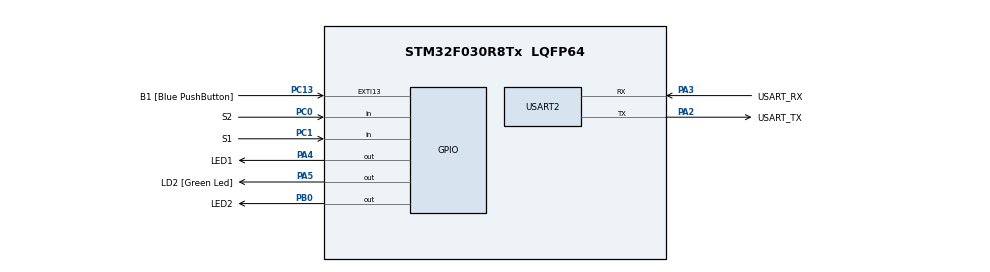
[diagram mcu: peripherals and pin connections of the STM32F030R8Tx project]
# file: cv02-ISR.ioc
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Mcu.Family=STM32F0
Mcu.Name=STM32F030R8Tx
Mcu.Package=LQFP64
PA13.GPIO_Label=TMS
PA13.Mode=Serial_Wire
PA13.Signal=SYS_SWDIO
PA14.GPIO_Label=TCK
PA14.Mode=Serial_Wire
PA14.Signal=SYS_SWCLK
PA2.GPIO_Label=USART_TX
PA2.GPIO_Mode=GPIO_MODE_AF_PP
PA2.GPIO_PuPd=GPIO_NOPULL
PA2.GPIO_Speed=GPIO_SPEED_FREQ_LOW
PA2.Mode=Asynchronous
PA2.Signal=USART2_TX
PA3.GPIO_Label=USART_RX
PA3.GPIO_Mode=GPIO_MODE_AF_PP
PA3.GPIO_PuPd=GPIO_NOPULL
PA3.GPIO_Speed=GPIO_SPEED_FREQ_LOW
PA3.Mode=Asynchronous
PA3.Signal=USART2_RX
PA4.GPIO_Label=LED1
PA4.Signal=GPIO_Output
PA5.GPIO_Label=LD2 [Green Led]
PA5.GPIO_Mode=GPIO_MODE_OUTPUT_PP
PA5.GPIO_PuPd=GPIO_NOPULL
PA5.GPIO_Speed=GPIO_SPEED_FREQ_LOW
PA5.Signal=GPIO_Output
PB0.GPIO_Label=LED2
PB0.Signal=GPIO_Output
PC0.GPIO_Label=S2
PC0.GPIO_PuPd=GPIO_PULLUP
PC0.Signal=GPIO_Input
PC1.GPIO_Label=S1
PC1.GPIO_PuPd=GPIO_PULLUP
PC1.Signal=GPIO_Input
PC13.GPIO_Label=B1 [Blue PushButton]
PC13.GPIO_ModeDefaultEXTI=GPIO_MODE_IT_FALLING
PC13.Signal=GPXTI13
PC14-OSC32_IN.Mode=LSE-External-Oscillator
PC14-OSC32_IN.Signal=RCC_OSC32_IN
PC15-OSC32_OUT.Mode=LSE-External-Oscillator
PC15-OSC32_OUT.Signal=RCC_OSC32_OUT
PF0-OSC_IN.Mode=HSE-External-Clock-Source
PF0-OSC_IN.Signal=RCC_OSC_IN
PF1-OSC_OUT.Signal=RCC_OSC_OUT
ProjectManager.HeapSize=0x200
ProjectManager.StackSize=0x400
ProjectManager.TargetToolchain=STM32CubeIDE
RCC.AHBFreq_Value=48000000
RCC.APB1Freq_Value=48000000
RCC.APB1TimFreq_Value=48000000
RCC.HCLKFreq_Value=48000000
RCC.PLLMUL=RCC_PLL_MUL12
RCC.SYSCLKFreq_VALUE=48000000
RCC.SYSCLKSource=RCC_SYSCLKSOURCE_PLLCLK
USART2.VirtualMode-Asynchronous=VM_ASYNC
board=NUCLEO-F030R8

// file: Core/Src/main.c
/* USER CODE BEGIN Header */
/**
  ******************************************************************************
  * @file           : main.c
  * @brief          : Main program body
  ******************************************************************************
  * @attention
  *
  * Copyright (c) 2023 STMicroelectronics.
  * All rights reserved.
  *
  * This software is licensed under terms that can be found in the LICENSE file
  * in the root directory of this software component.
  * If no LICENSE file comes with this software, it is provided AS-IS.
  *
  ******************************************************************************
  */
/* USER CODE END Header */
#include "main.h"

/* USER CODE BEGIN PD */
#define LED_TIME_BLINK 300
#define LED_TIME_SHORT 100
#define LED_TIME_LONG 1000

#define BTN_PERIOD_S1 5
#define BTN_PERIOD_S2 40
/* USER CODE END PD */

void SystemClock_Config(void);
static void MX_GPIO_Init(void);
static void MX_USART2_UART_Init(void);

/* USER CODE BEGIN 0 */
volatile uint32_t Tick;
/* USER CODE END 0 */

int main(void)
{

  /* MCU Configuration--------------------------------------------------------*/

  /* Reset of all peripherals, Initializes the Flash interface and the Systick. */
  LL_APB1_GRP2_EnableClock(LL_APB1_GRP2_PERIPH_SYSCFG);
  LL_APB1_GRP1_EnableClock(LL_APB1_GRP1_PERIPH_PWR);

  /* Configure the system clock */
  SystemClock_Config();

  /* Initialize all configured peripherals */
  MX_GPIO_Init();
  MX_USART2_UART_Init();
  /* USER CODE BEGIN 2 */
  LL_SYSTICK_EnableIT();
  /* USER CODE END 2 */

  /* Infinite loop */
  /* USER CODE BEGIN WHILE */
  while (1)
  {
	  blikac();
	  tlacitka();
    /* USER CODE END WHILE */

  }
}

void SystemClock_Config(void)
{
  LL_FLASH_SetLatency(LL_FLASH_LATENCY_1);
  while(LL_FLASH_GetLatency() != LL_FLASH_LATENCY_1)
  {
  }
  LL_RCC_HSI_Enable();

   /* Wait till HSI is ready */
  while(LL_RCC_HSI_IsReady() != 1)
  {

  }
  LL_RCC_HSI_SetCalibTrimming(16);
  LL_RCC_PLL_ConfigDomain_SYS(LL_RCC_PLLSOURCE_HSI_DIV_2, LL_RCC_PLL_MUL_12);
  LL_RCC_PLL_Enable();

   /* Wait till PLL is ready */
  while(LL_RCC_PLL_IsReady() != 1)
  {

  }
  LL_RCC_SetAHBPrescaler(LL_RCC_SYSCLK_DIV_1);
  LL_RCC_SetAPB1Prescaler(LL_RCC_APB1_DIV_1);
  LL_RCC_SetSysClkSource(LL_RCC_SYS_CLKSOURCE_PLL);

   /* Wait till System clock is ready */
  while(LL_RCC_GetSysClkSource() != LL_RCC_SYS_CLKSOURCE_STATUS_PLL)
  {

  }
  LL_Init1msTick(48000000);
  LL_SetSystemCoreClock(48000000);
}

static void MX_USART2_UART_Init(void)
{

  LL_USART_InitTypeDef USART_InitStruct = {0};

  LL_GPIO_InitTypeDef GPIO_InitStruct = {0};

  /* Peripheral clock enable */
  LL_APB1_GRP1_EnableClock(LL_APB1_GRP1_PERIPH_USART2);

  LL_AHB1_GRP1_EnableClock(LL_AHB1_GRP1_PERIPH_GPIOA);
  /**USART2 GPIO Configuration
  PA2   ------> USART2_TX
  PA3   ------> USART2_RX
  */
  GPIO_InitStruct.Pin = USART_TX_Pin;
  GPIO_InitStruct.Mode = LL_GPIO_MODE_ALTERNATE;
  GPIO_InitStruct.Speed = LL_GPIO_SPEED_FREQ_LOW;
  GPIO_InitStruct.OutputType = LL_GPIO_OUTPUT_PUSHPULL;
  GPIO_InitStruct.Pull = LL_GPIO_PULL_NO;
  GPIO_InitStruct.Alternate = LL_GPIO_AF_1;
  LL_GPIO_Init(USART_TX_GPIO_Port, &GPIO_InitStruct);

  GPIO_InitStruct.Pin = USART_RX_Pin;
  GPIO_InitStruct.Mode = LL_GPIO_MODE_ALTERNATE;
  GPIO_InitStruct.Speed = LL_GPIO_SPEED_FREQ_LOW;
  GPIO_InitStruct.OutputType = LL_GPIO_OUTPUT_PUSHPULL;
  GPIO_InitStruct.Pull = LL_GPIO_PULL_NO;
  GPIO_InitStruct.Alternate = LL_GPIO_AF_1;
  LL_GPIO_Init(USART_RX_GPIO_Port, &GPIO_InitStruct);

  USART_InitStruct.BaudRate = 38400;
  USART_InitStruct.DataWidth = LL_USART_DATAWIDTH_8B;
  USART_InitStruct.StopBits = LL_USART_STOPBITS_1;
  USART_InitStruct.Parity = LL_USART_PARITY_NONE;
  USART_InitStruct.TransferDirection = LL_USART_DIRECTION_TX_RX;
  USART_InitStruct.HardwareFlowControl = LL_USART_HWCONTROL_NONE;
  USART_InitStruct.OverSampling = LL_USART_OVERSAMPLING_16;
  LL_USART_Init(USART2, &USART_InitStruct);
  LL_USART_DisableIT_CTS(USART2);
  LL_USART_ConfigAsyncMode(USART2);
  LL_USART_Enable(USART2);

}

static void MX_GPIO_Init(void)
{
  LL_EXTI_InitTypeDef EXTI_InitStruct = {0};
  LL_GPIO_InitTypeDef GPIO_InitStruct = {0};

  /* GPIO Ports Clock Enable */
  LL_AHB1_GRP1_EnableClock(LL_AHB1_GRP1_PERIPH_GPIOC);
  LL_AHB1_GRP1_EnableClock(LL_AHB1_GRP1_PERIPH_GPIOF);
  LL_AHB1_GRP1_EnableClock(LL_AHB1_GRP1_PERIPH_GPIOA);
  LL_AHB1_GRP1_EnableClock(LL_AHB1_GRP1_PERIPH_GPIOB);

  /**/
  LL_GPIO_ResetOutputPin(LED1_GPIO_Port, LED1_Pin);

  /**/
  LL_GPIO_ResetOutputPin(LD2_GPIO_Port, LD2_Pin);

  /**/
  LL_GPIO_ResetOutputPin(LED2_GPIO_Port, LED2_Pin);

  /**/
  LL_SYSCFG_SetEXTISource(LL_SYSCFG_EXTI_PORTC, LL_SYSCFG_EXTI_LINE13);

  /**/
  LL_GPIO_SetPinPull(B1_GPIO_Port, B1_Pin, LL_GPIO_PULL_NO);

  /**/
  LL_GPIO_SetPinMode(B1_GPIO_Port, B1_Pin, LL_GPIO_MODE_INPUT);

  /**/
  EXTI_InitStruct.Line_0_31 = LL_EXTI_LINE_13;
  EXTI_InitStruct.LineCommand = ENABLE;
  EXTI_InitStruct.Mode = LL_EXTI_MODE_IT;
  EXTI_InitStruct.Trigger = LL_EXTI_TRIGGER_FALLING;
  LL_EXTI_Init(&EXTI_InitStruct);

  /**/
  GPIO_InitStruct.Pin = S2_Pin;
  GPIO_InitStruct.Mode = LL_GPIO_MODE_INPUT;
  GPIO_InitStruct.Pull = LL_GPIO_PULL_UP;
  LL_GPIO_Init(S2_GPIO_Port, &GPIO_InitStruct);

  /**/
  GPIO_InitStruct.Pin = S1_Pin;
  GPIO_InitStruct.Mode = LL_GPIO_MODE_INPUT;
  GPIO_InitStruct.Pull = LL_GPIO_PULL_UP;
  LL_GPIO_Init(S1_GPIO_Port, &GPIO_InitStruct);

  /**/
  GPIO_InitStruct.Pin = LED1_Pin;
  GPIO_InitStruct.Mode = LL_GPIO_MODE_OUTPUT;
  GPIO_InitStruct.Speed = LL_GPIO_SPEED_FREQ_LOW;
  GPIO_InitStruct.OutputType = LL_GPIO_OUTPUT_PUSHPULL;
  GPIO_InitStruct.Pull = LL_GPIO_PULL_NO;
  LL_GPIO_Init(LED1_GPIO_Port, &GPIO_InitStruct);

  /**/
  GPIO_InitStruct.Pin = LD2_Pin;
  GPIO_InitStruct.Mode = LL_GPIO_MODE_OUTPUT;
  GPIO_InitStruct.Speed = LL_GPIO_SPEED_FREQ_LOW;
  GPIO_InitStruct.OutputType = LL_GPIO_OUTPUT_PUSHPULL;
  GPIO_InitStruct.Pull = LL_GPIO_PULL_NO;
  LL_GPIO_Init(LD2_GPIO_Port, &GPIO_InitStruct);

  /**/
  GPIO_InitStruct.Pin = LED2_Pin;
  GPIO_InitStruct.Mode = LL_GPIO_MODE_OUTPUT;
  GPIO_InitStruct.Speed = LL_GPIO_SPEED_FREQ_LOW;
  GPIO_InitStruct.OutputType = LL_GPIO_OUTPUT_PUSHPULL;
  GPIO_InitStruct.Pull = LL_GPIO_PULL_NO;
  LL_GPIO_Init(LED2_GPIO_Port, &GPIO_InitStruct);

}

/* USER CODE BEGIN 4 */
void blikac(void) {
	static uint32_t delay;

	if (Tick > delay + LED_TIME_BLINK) {
		delay = Tick;
		LL_GPIO_TogglePin(LED1_GPIO_Port, LED1_Pin);
	}

}

void tlacitka(void) {
	static uint32_t off_time;

	static uint32_t last_time_s1;
	static uint32_t last_time_s2;
	static uint32_t old_s2;
	static uint16_t debounce = 0xFFFF;
	uint32_t new_s2 = LL_GPIO_IsInputPinSet(S2_GPIO_Port, S2_Pin);

	// Turn off the LED2 if it's time to
	if (Tick > off_time) {
		LL_GPIO_ResetOutputPin(LED2_GPIO_Port, LED2_Pin);
	}

	// Read button S2 every 40ms
	if (Tick > last_time_s2 + BTN_PERIOD_S2) {
		last_time_s2 = Tick;

		if (old_s2 && !new_s2) {
			LL_GPIO_SetOutputPin(LED2_GPIO_Port, LED2_Pin);
			off_time = Tick + LED_TIME_SHORT;
		}
		old_s2 = new_s2;
	}

	// Read button S1 using debounce method every 5ms
	if (Tick > last_time_s1 + BTN_PERIOD_S1) {
		last_time_s1 = Tick;

		debounce = (debounce<<1)+LL_GPIO_IsInputPinSet(S1_GPIO_Port, S1_Pin);
		if (debounce == 0x7FFF) {
			LL_GPIO_SetOutputPin(LED2_GPIO_Port, LED2_Pin);
			off_time = Tick + LED_TIME_LONG;
		}
	}

}
/* USER CODE END 4 */

void Error_Handler(void)
{
  __disable_irq();
  while (1)
  {
  }
}
